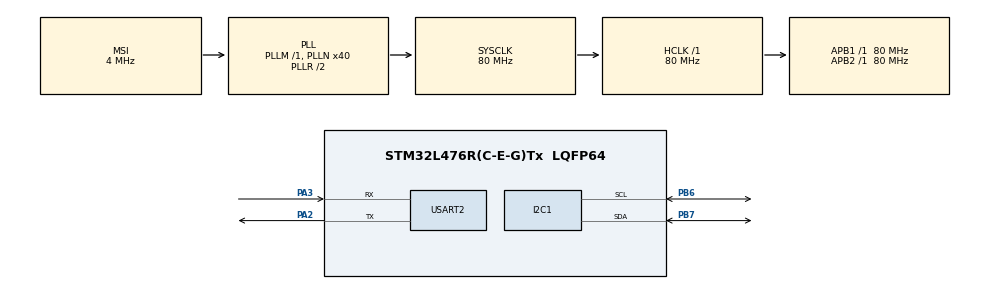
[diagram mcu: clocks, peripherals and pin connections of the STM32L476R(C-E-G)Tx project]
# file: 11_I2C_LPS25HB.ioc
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I2C1.Timing=0x10D19CE4
Mcu.Family=STM32L4
Mcu.Name=STM32L476R(C-E-G)Tx
Mcu.Package=LQFP64
NVIC.PriorityGroup=NVIC_PRIORITYGROUP_4
PA13\ (JTMS-SWDIO).Mode=Serial_Wire
PA13\ (JTMS-SWDIO).Signal=SYS_JTMS-SWDIO
PA14\ (JTCK-SWCLK).Mode=Serial_Wire
PA14\ (JTCK-SWCLK).Signal=SYS_JTCK-SWCLK
PA2.Mode=Asynchronous
PA2.Signal=USART2_TX
PA3.Mode=Asynchronous
PA3.Signal=USART2_RX
PB6.Mode=I2C
PB6.Signal=I2C1_SCL
PB7.Mode=I2C
PB7.Signal=I2C1_SDA
PC14-OSC32_IN\ (PC14).Mode=LSE-External-Oscillator
PC14-OSC32_IN\ (PC14).Signal=RCC_OSC32_IN
PC15-OSC32_OUT\ (PC15).Mode=LSE-External-Oscillator
PC15-OSC32_OUT\ (PC15).Signal=RCC_OSC32_OUT
ProjectManager.HeapSize=0x200
ProjectManager.StackSize=0x400
ProjectManager.TargetToolchain=STM32CubeIDE
RCC.AHBFreq_Value=80000000
RCC.APB1Freq_Value=80000000
RCC.APB1TimFreq_Value=80000000
RCC.APB2Freq_Value=80000000
RCC.APB2TimFreq_Value=80000000
RCC.CortexFreq_Value=80000000
RCC.HCLKFreq_Value=80000000
RCC.HSE_VALUE=8000000
RCC.HSI_VALUE=16000000
RCC.MSI_VALUE=4000000
RCC.PLLN=40
RCC.SYSCLKFreq_VALUE=80000000
RCC.SYSCLKSource=RCC_SYSCLKSOURCE_PLLCLK
RCC.VCOOutputFreq_Value=160000000
USART2.VirtualMode-Asynchronous=VM_ASYNC
board=custom

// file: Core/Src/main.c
/* USER CODE BEGIN Header */
/**
  ******************************************************************************
  * @file           : main.c
  * @brief          : Main program body
  ******************************************************************************
  * @attention
  *
  * Copyright (c) 2024 STMicroelectronics.
  * All rights reserved.
  *
  * This software is licensed under terms that can be found in the LICENSE file
  * in the root directory of this software component.
  * If no LICENSE file comes with this software, it is provided AS-IS.
  *
  ******************************************************************************
  */
/* USER CODE END Header */
#include "main.h"
#include "i2c.h"
#include "usart.h"
#include "gpio.h"

/* USER CODE BEGIN Includes */
#include <stdio.h>
#include "lps25hb.h"
#include <math.h>
/* USER CODE END Includes */

void SystemClock_Config(void);

/* USER CODE BEGIN 0 */

int __io_putchar(int ch)
{
  if (ch == '\n') {
    __io_putchar('\r');
  }

  HAL_UART_Transmit(&huart2, (uint8_t*)&ch, 1, HAL_MAX_DELAY);

  return 1;
}

/* USER CODE END 0 */

int main(void)
{

  /* MCU Configuration--------------------------------------------------------*/

  /* Reset of all peripherals, Initializes the Flash interface and the Systick. */
  HAL_Init();

  /* Configure the system clock */
  SystemClock_Config();

  /* Initialize all configured peripherals */
  MX_GPIO_Init();
  MX_I2C1_Init();
  MX_USART2_UART_Init();
  /* USER CODE BEGIN 2 */

  //
  printf("Searching...\n");
  if(lps25hb_init() == HAL_OK) {

	  printf("OK: LPS25HB\n");

  }
  else {

	  printf("Error: LPS25HB not found\n");
	  Error_Handler();

  }
  HAL_Delay(5000);

  //Wysokosc szerszen nad poziomem morza:
  const float h = 133;

  //Kalibracja czujnika LPS25HB:
  //lps25hb_set_calib(-48);

  //Zmierzenie cisnienia bezwzglednego wzorcowego do obliczenia wysokosci wzglednej:
  float pwzorcowe = lps25hb_read_pressure();
  /* USER CODE END 2 */

  /* Infinite loop */
  /* USER CODE BEGIN WHILE */
  while (1)
  {

	  //Wyswietlenie temperatury odczytanej z czujnika w celsjuszach:
	  printf("T = %.1f *C\n", lps25hp_read_temp());
	  //Wyswietlenie cisnienia bezwzglednego odczytanego z czujnika:
	  float p = lps25hb_read_pressure();
	  printf("Pbez (cisnienie bezwzgledne) = %.1f hPa\n", p);
	  //Obliczenie temperatury w kelwinach:
	  float temp_k = lps25hp_read_temp() + 273.15;
	  //Obliczenie cisnienia wzglednego:
	  float p0 = p * exp(0.034162608734308 * h / temp_k);
	  //Wyswietlenie cisnienia wzglednego:
	  printf("Pwzgl (cisnienie wzgledne) = %.1f hPa\n", p0);
	  //Obliczenie wysokości bezwzględnej
	  float h = -29.271769 * temp_k * log(p / p0);
	  //Wyswietlenie wysokosci bezwzglednej
	  printf("hbez (wysokosc bezwzgledna) = %.2f\n", h);
	  //Obliczenie wysokosci wzglednej:
	  float hwzgledna = -29.271769 * temp_k * log(p / pwzorcowe);
	  //Wyswietlenie wysokosci wzglednej:
	  printf("hwzgledna (wysokosc wzgledna) = %.2f\n", hwzgledna);
	  HAL_Delay(1000);

    /* USER CODE END WHILE */

  }
}

void SystemClock_Config(void)
{
  RCC_OscInitTypeDef RCC_OscInitStruct = {0};
  RCC_ClkInitTypeDef RCC_ClkInitStruct = {0};

  /** Configure the main internal regulator output voltage
  */
  if (HAL_PWREx_ControlVoltageScaling(PWR_REGULATOR_VOLTAGE_SCALE1) != HAL_OK)
  {
    Error_Handler();
  }

  /** Configure LSE Drive Capability
  */
  HAL_PWR_EnableBkUpAccess();
  __HAL_RCC_LSEDRIVE_CONFIG(RCC_LSEDRIVE_LOW);

  /** Initializes the RCC Oscillators according to the specified parameters
  * in the RCC_OscInitTypeDef structure.
  */
  RCC_OscInitStruct.OscillatorType = RCC_OSCILLATORTYPE_LSE|RCC_OSCILLATORTYPE_MSI;
  RCC_OscInitStruct.LSEState = RCC_LSE_ON;
  RCC_OscInitStruct.MSIState = RCC_MSI_ON;
  RCC_OscInitStruct.MSICalibrationValue = 0;
  RCC_OscInitStruct.MSIClockRange = RCC_MSIRANGE_6;
  RCC_OscInitStruct.PLL.PLLState = RCC_PLL_ON;
  RCC_OscInitStruct.PLL.PLLSource = RCC_PLLSOURCE_MSI;
  RCC_OscInitStruct.PLL.PLLM = 1;
  RCC_OscInitStruct.PLL.PLLN = 40;
  RCC_OscInitStruct.PLL.PLLP = RCC_PLLP_DIV7;
  RCC_OscInitStruct.PLL.PLLQ = RCC_PLLQ_DIV2;
  RCC_OscInitStruct.PLL.PLLR = RCC_PLLR_DIV2;
  if (HAL_RCC_OscConfig(&RCC_OscInitStruct) != HAL_OK)
  {
    Error_Handler();
  }

  /** Initializes the CPU, AHB and APB buses clocks
  */
  RCC_ClkInitStruct.ClockType = RCC_CLOCKTYPE_HCLK|RCC_CLOCKTYPE_SYSCLK
                              |RCC_CLOCKTYPE_PCLK1|RCC_CLOCKTYPE_PCLK2;
  RCC_ClkInitStruct.SYSCLKSource = RCC_SYSCLKSOURCE_PLLCLK;
  RCC_ClkInitStruct.AHBCLKDivider = RCC_SYSCLK_DIV1;
  RCC_ClkInitStruct.APB1CLKDivider = RCC_HCLK_DIV1;
  RCC_ClkInitStruct.APB2CLKDivider = RCC_HCLK_DIV1;

  if (HAL_RCC_ClockConfig(&RCC_ClkInitStruct, FLASH_LATENCY_4) != HAL_OK)
  {
    Error_Handler();
  }

  /** Enable MSI Auto calibration
  */
  HAL_RCCEx_EnableMSIPLLMode();
}

void Error_Handler(void)
{
  __disable_irq();
  while (1)
  {
  }
}
